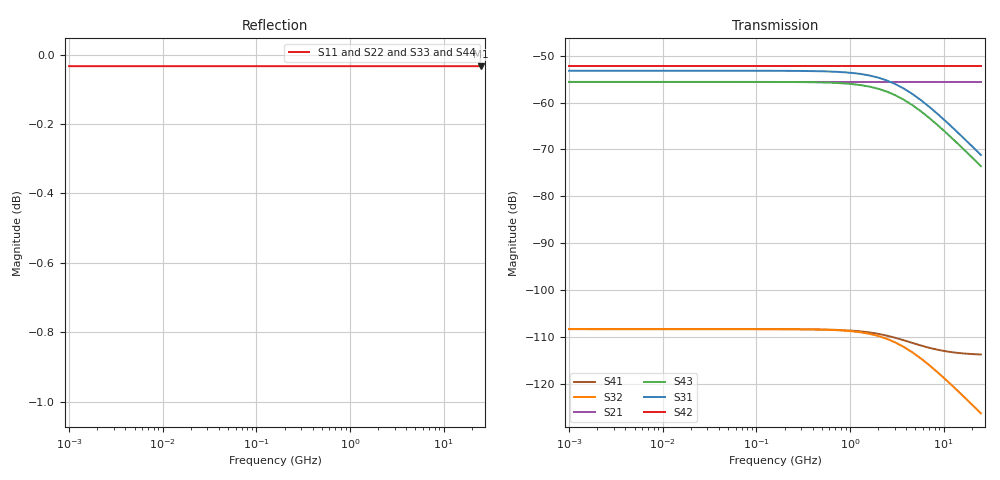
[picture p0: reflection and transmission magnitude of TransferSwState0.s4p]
# MHz S MA R 50
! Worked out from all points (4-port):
!   49 points, 1 MHz to 25 GHz, reference 50 ohm
!   strongest paths, dB at 1 MHz, 12.57 MHz, 158.1 MHz, 1.988 GHz, 25 GHz:
!     S42: -52.2, -52.2, -52.2, -52.2, -52.2
!     S31: -53.2, -53.2, -53.2, -54.7, -71.2
!     S43: -55.6, -55.6, -55.6, -57.0, -73.5
!     S21: -55.7, -55.7, -55.7, -55.7, -55.7
!     S32: -108.3, -108.3, -108.3, -109.8, -126.3
!     S41: -108.3, -108.3, -108.3, -109.3, -113.7
!   lowest |S11| = 0.0 dB at 25 GHz (marker M1), VSWR 520.53, Z = 2.6e+04 - j2.04 ohm
!   |S11| at or under -10 dB: nowhere
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1  0.9962 -0.0  0.001643 0.0  0.002186 0.0  3.835e-06 0.0
   0.001643 0.0  0.9959 -0.0  3.853e-06 -5.1  0.002447 -0.0
   0.002186 0.0  3.853e-06 -5.1  0.9961 -0.0  0.001663 -0.0
   3.835e-06 0.0  0.002447 -0.0  0.001663 -0.0  0.9959 -0.0
103.6866  0.9962 -0.0  0.001643 0.0  0.002184 -1.9  3.833e-06 -0.9
          0.001643 0.0  0.9959 -0.0  3.835e-06 -1.9  0.002447 -0.0
          0.002184 -1.9  3.835e-06 -1.9  0.9958 -3.7  0.001662 -1.9
          3.833e-06 -0.9  0.002447 -0.0  0.001662 -1.9  0.9959 -0.0
692.3668  0.9962 -0.0  0.001643 -0.0  0.002134 -12.2  3.77e-06 -5.7
          0.001643 -0.0  0.9959 -0.0  3.746e-06 -12.2  0.002447 -0.0
          0.002134 -12.2  3.746e-06 -12.2  0.9943 -24.5  0.001623 -12.2
          3.77e-06 -5.7  0.002447 -0.0  0.001623 -12.2  0.9959 -0.0
1610.02  0.9962 -0.0  0.001643 -0.0  0.001948 -26.7  3.539e-06 -11.9
         0.001643 -0.0  0.9959 -0.0  3.419e-06 -26.7  0.002447 -0.0
         0.001948 -26.7  3.419e-06 -26.7  0.9929 -53.7  0.001481 -26.7
         3.539e-06 -11.9  0.002447 -0.0  0.001481 -26.7  0.9959 -0.0
3031.814  0.9962 -0.0  0.001643 -0.0  0.00158 -43.4  3.105e-06 -16.9
          0.001643 -0.0  0.9959 -0.0  2.774e-06 -43.4  0.002447 -0.0
          0.00158 -43.4  2.774e-06 -43.4  0.993 -87.2  0.001202 -43.4
          3.105e-06 -16.9  0.002447 -0.0  0.001202 -43.4  0.9959 -0.0
8706.052  0.9962 -0.0  0.001643 -0.0  0.0007507 -69.6  2.307e-06 -14.7
          0.001643 -0.0  0.9959 -0.0  1.318e-06 -69.6  0.002447 -0.0
          0.0007507 -69.6  1.318e-06 -69.6  0.9963 -139.8  0.0005711 -69.6
          2.307e-06 -14.7  0.002447 -0.0  0.0005711 -69.6  0.9959 -0.0
25000  0.9962 -0.0  0.001643 -0.0  0.0002764 -82.4  2.057e-06 -6.4
       0.001643 -0.0  0.9959 -0.0  4.853e-07 -82.4  0.002447 -0.0
       0.0002764 -82.4  4.853e-07 -82.4  0.9987 -165.5  0.0002103 -82.4
       2.057e-06 -6.4  0.002447 -0.0  0.0002103 -82.4  0.9959 -0.0
